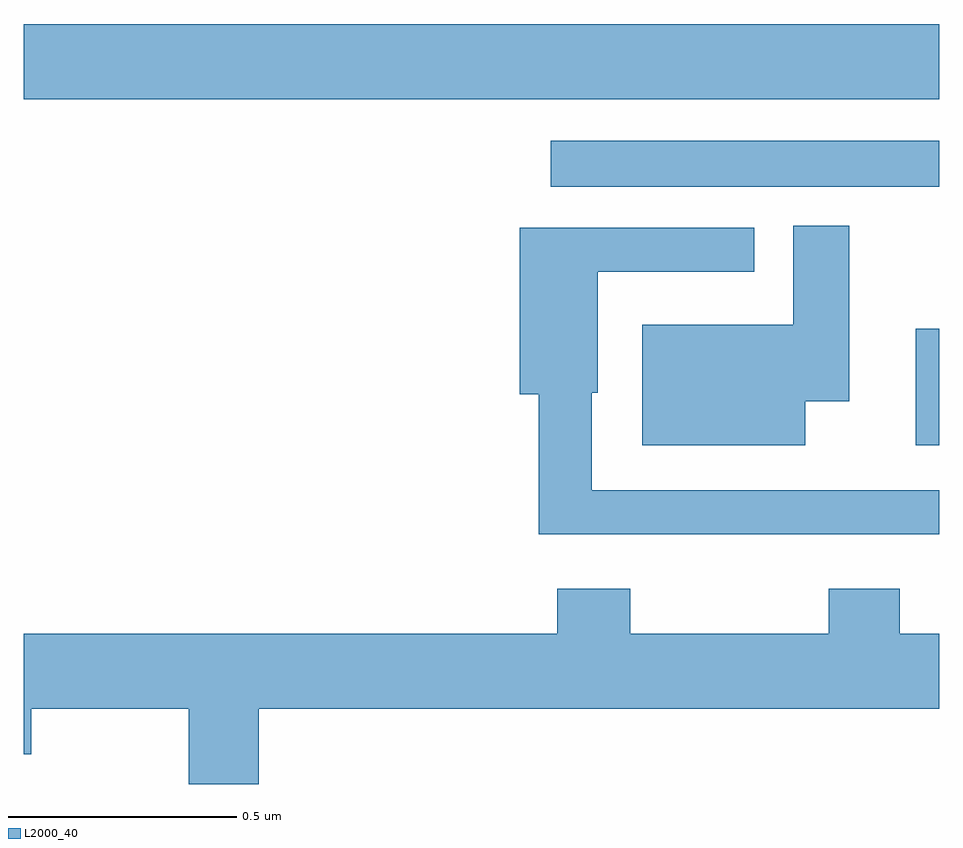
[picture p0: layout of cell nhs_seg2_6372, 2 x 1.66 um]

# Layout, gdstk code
import gdstk
lib = gdstk.Library(unit=1e-6, precision=1e-09)
def R(c, l, rs):  # rectangles x0, y0, x1, y1
    for r in rs: c.add(gdstk.rectangle(r[:2], r[2:], *l))
def P(c, l, *ps):  # polygons
    for p in ps: c.add(gdstk.Polygon(p, *l))
L2000_40 = (2000, 40)

nhs_seg2_6372 = lib.new_cell('nhs_seg2_6372')
R(nhs_seg2_6372, L2000_40, [(191.948,653.54,192,653.794), (191.151,654.104,192,654.205), (190,654.296,192,654.46)])
P(nhs_seg2_6372, L2000_40, [(191.707,653.636),(191.803,653.636),(191.803,654.019),(191.681,654.019),(191.681,653.803),(191.351,653.803),(191.351,653.54),(191.707,653.54)],
  [(191.669,653.346),(192,653.346),(192,653.442),(191.241,653.442),(191.241,653.655),(191.254,653.655),(191.254,653.919),(191.596,653.919),(191.596,654.015),(191.084,654.015),(191.084,653.651),(191.125,653.651),(191.125,653.346),(191.413,653.346),(191.413,653.345),(191.669,653.345)],
  [(190.514,652.964),(192,652.964),(192,653.128),(191.913,653.128),(191.913,653.227),(191.758,653.227),(191.758,653.128),(191.325,653.128),(191.325,653.227),(191.165,653.227),(191.165,653.128),(190,653.128),(190,652.865),(190.017,652.865),(190.017,652.964),(190.361,652.964),(190.361,652.8),(190.514,652.8)])

lib.write_gds('nhs_seg2_6372.gds')
